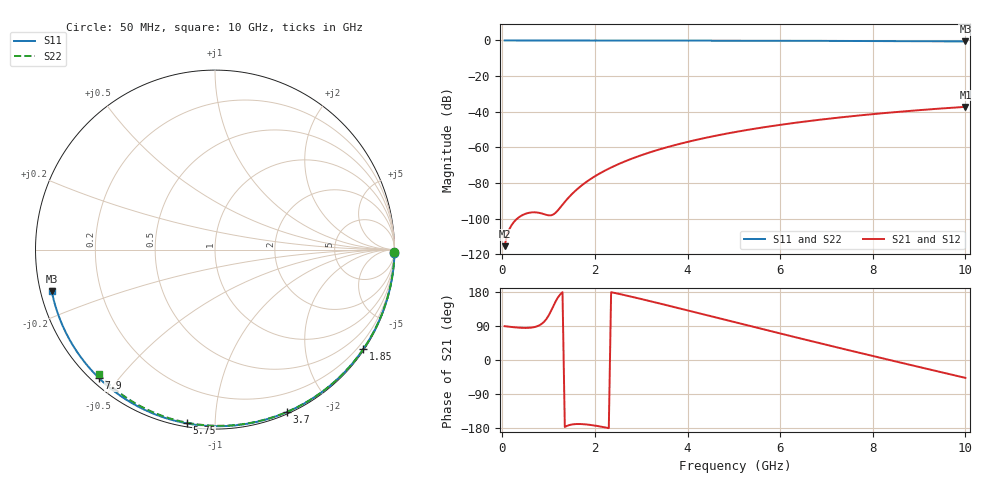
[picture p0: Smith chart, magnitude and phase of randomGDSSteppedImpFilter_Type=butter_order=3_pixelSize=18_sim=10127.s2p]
! freq	dB(S11)	phase(S11)	dB(S12)	phase(S12)
!  dB(S21)	phase(S21)	dB(S22)	phase(S22)
!S-par simulation data
#  GHz  S  DB  R 50
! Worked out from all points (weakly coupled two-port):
!   200 points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, 50 MHz to 10 GHz, reference 50 ohm
!   highest |S21| = -37.26 dB at 10 GHz (marker M1); lowest = -115.5 dB at 50 MHz (marker M2)
!   lowest |S11| = -0.6 dB at 10 GHz (marker M3), VSWR 31.59, Z = 1.61 - j6.25 ohm
!   |S11| at or under -10 dB: nowhere
!   |S22| runs from -0.4 to 0.0 dB; largest |S21 - S12| = 0
!   S11 on the Smith chart (normalised r, x): 50 MHz: open; 1.85 GHz: 0.03, -3.28; 3.7 GHz: 0.02, -1.54; 5.75 GHz: 0.02, -0.85; 7.9 GHz: 0.02, -0.44; 10 GHz: 0.03, -0.13
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0.05  -0.00 -0.9  -115.46 89.2  -115.46 89.2  -0.00 -0.8
0.45  -0.01 -8.4  -97.83 84.7  -97.83 84.7  -0.01 -6.9
0.85  -0.02 -15.8  -97.09 95.3  -97.09 95.3  -0.02 -13.0
1.3  -0.03 -24.0  -92.17 179.0  -92.17 179.0  -0.02 -19.8
1.75  -0.04 -32.2  -80.65 -169.4  -80.65 -169.4  -0.03 -26.5
1.8  -0.04 -33.1  -79.68 -169.9  -79.68 -169.9  -0.03 -27.3
1.85  -0.04 -34.0  -78.76 -170.5  -78.76 -170.5  -0.04 -28.0
2.15  -0.05 -39.3  -73.98 -176.2  -73.98 -176.2  -0.04 -32.4
2.5  -0.06 -45.5  -69.51 175.0  -69.51 175.0  -0.05 -37.6
2.9  -0.07 -52.5  -65.35 163.8  -65.35 163.8  -0.06 -43.4
3.4  -0.08 -61.1  -61.10 149.1  -61.10 149.1  -0.07 -50.5
3.7  -0.09 -66.1  -58.92 140.1  -58.92 140.1  -0.07 -54.7
4.35  -0.11 -76.9  -54.87 120.3  -54.87 120.3  -0.09 -63.7
5.05  -0.14 -88.2  -51.30 98.9  -51.30 98.9  -0.11 -73.1
5.75  -0.17 -99.2  -48.32 77.6  -48.32 77.6  -0.14 -82.2
6.2  -0.19 -106.2  -46.65 64.0  -46.65 64.0  -0.16 -87.9
6.7  -0.22 -113.9  -44.98 49.0  -44.98 49.0  -0.18 -94.1
7.3  -0.26 -123.0  -43.19 31.2  -43.19 31.2  -0.22 -101.5
7.9  -0.31 -132.2  -41.61 13.5  -41.61 13.5  -0.26 -108.7
8.35  -0.36 -139.1  -40.53 0.4  -40.53 0.4  -0.29 -114.0
9.2  -0.45 -152.5  -38.72 -24.2  -38.72 -24.2  -0.36 -123.9
10  -0.55 -165.7  -37.26 -47.2  -37.26 -47.2  -0.45 -133.0
